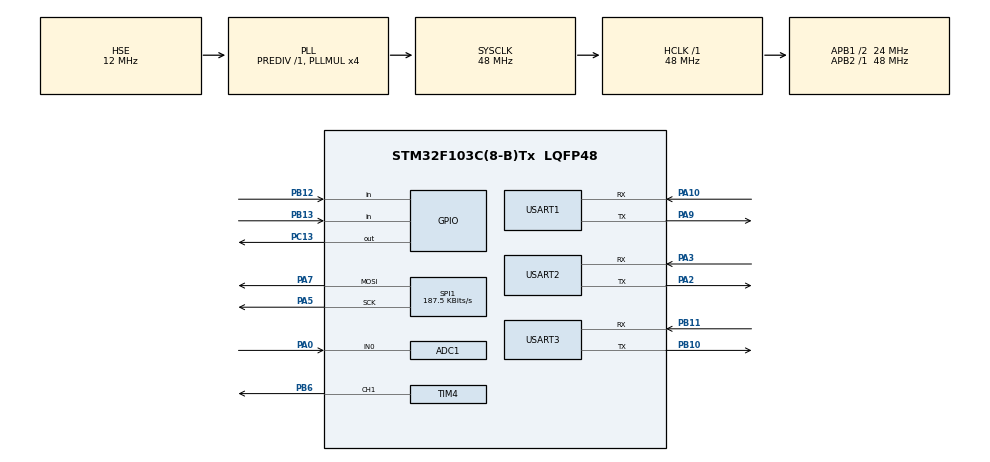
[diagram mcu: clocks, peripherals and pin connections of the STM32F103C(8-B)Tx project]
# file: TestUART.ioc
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ADC1.Channel-4\#ChannelRegularConversion=ADC_CHANNEL_0
ADC1.ContinuousConvMode=ENABLE
ADC1.NbrOfConversionFlag=1
ADC1.Rank-4\#ChannelRegularConversion=1
ADC1.SamplingTime-4\#ChannelRegularConversion=ADC_SAMPLETIME_71CYCLES_5
ADC1.master=1
Mcu.Family=STM32F1
Mcu.Name=STM32F103C(8-B)Tx
Mcu.Package=LQFP48
NVIC.ADC1_2_IRQn=true\:0\:0\:false\:false\:true\:true
NVIC.PriorityGroup=NVIC_PRIORITYGROUP_4
PA0-WKUP.Signal=ADCx_IN0
PA10.Mode=Asynchronous
PA10.Signal=USART1_RX
PA13.Mode=Serial_Wire
PA13.Signal=SYS_JTMS-SWDIO
PA14.Mode=Serial_Wire
PA14.Signal=SYS_JTCK-SWCLK
PA2.Mode=Asynchronous
PA2.Signal=USART2_TX
PA3.Mode=Asynchronous
PA3.Signal=USART2_RX
PA5.Mode=TX_Only_Simplex_Unidirect_Master
PA5.Signal=SPI1_SCK
PA7.Mode=TX_Only_Simplex_Unidirect_Master
PA7.Signal=SPI1_MOSI
PA9.Mode=Asynchronous
PA9.Signal=USART1_TX
PB10.Mode=Asynchronous
PB10.Signal=USART3_TX
PB11.Mode=Asynchronous
PB11.Signal=USART3_RX
PB12.GPIO_PuPd=GPIO_PULLUP
PB12.Signal=GPIO_Input
PB13.GPIO_PuPd=GPIO_PULLUP
PB13.Signal=GPIO_Input
PB6.Signal=S_TIM4_CH1
PC13-TAMPER-RTC.Signal=GPIO_Output
PD0-OSC_IN.Mode=HSE-External-Oscillator
PD0-OSC_IN.Signal=RCC_OSC_IN
PD1-OSC_OUT.Mode=HSE-External-Oscillator
PD1-OSC_OUT.Signal=RCC_OSC_OUT
ProjectManager.HeapSize=0x200
ProjectManager.StackSize=0x400
ProjectManager.TargetToolchain=Makefile
RCC.ADCPresc=RCC_ADCPCLK2_DIV6
RCC.AHBFreq_Value=48000000
RCC.APB1CLKDivider=RCC_HCLK_DIV2
RCC.APB1Freq_Value=24000000
RCC.APB1TimFreq_Value=48000000
RCC.APB2Freq_Value=48000000
RCC.APB2TimFreq_Value=48000000
RCC.HCLKFreq_Value=48000000
RCC.HSE_VALUE=12000000
RCC.PLLMUL=RCC_PLL_MUL4
RCC.PLLSourceVirtual=RCC_PLLSOURCE_HSE
RCC.SYSCLKFreq_VALUE=48000000
RCC.SYSCLKSource=RCC_SYSCLKSOURCE_PLLCLK
RCC.USBFreq_Value=48000000
SH.ADCx_IN0.0=ADC1_IN0,IN0
SH.S_TIM4_CH1.0=TIM4_CH1,PWM Generation1 CH1
SPI1.BaudRatePrescaler=SPI_BAUDRATEPRESCALER_256
SPI1.CalculateBaudRate=187.5 KBits/s
SPI1.Direction=SPI_DIRECTION_2LINES
SPI1.Mode=SPI_MODE_MASTER
SPI1.VirtualType=VM_MASTER
TIM4.Channel-PWM\ Generation1\ CH1=TIM_CHANNEL_1
TIM4.Period=2000
TIM4.Prescaler=4800-1
TIM4.Pulse-PWM\ Generation1\ CH1=1000
USART1.VirtualMode=VM_ASYNC
USART2.VirtualMode=VM_ASYNC
USART3.VirtualMode=VM_ASYNC
board=TestUART

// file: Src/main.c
/**
  ******************************************************************************
  * @file           : main.c
  * @brief          : Main program body
  ******************************************************************************
  ** This notice applies to any and all portions of this file
  * that are not between comment pairs USER CODE BEGIN and
  * USER CODE END. Other portions of this file, whether
  * inserted by the user or by software development tools
  * are owned by their respective copyright owners.
  *
  * COPYRIGHT(c) 2018 STMicroelectronics
  *
  * Redistribution and use in source and binary forms, with or without modification,
  * are permitted provided that the following conditions are met:
  *   1. Redistributions of source code must retain the above copyright notice,
  *      this list of conditions and the following disclaimer.
  *   2. Redistributions in binary form must reproduce the above copyright notice,
  *      this list of conditions and the following disclaimer in the documentation
  *      and/or other materials provided with the distribution.
  *   3. Neither the name of STMicroelectronics nor the names of its contributors
  *      may be used to endorse or promote products derived from this software
  *      without specific prior written permission.
  *
  * THIS SOFTWARE IS PROVIDED BY THE COPYRIGHT HOLDERS AND CONTRIBUTORS "AS IS"
  * AND ANY EXPRESS OR IMPLIED WARRANTIES, INCLUDING, BUT NOT LIMITED TO, THE
  * IMPLIED WARRANTIES OF MERCHANTABILITY AND FITNESS FOR A PARTICULAR PURPOSE ARE
  * DISCLAIMED. IN NO EVENT SHALL THE COPYRIGHT HOLDER OR CONTRIBUTORS BE LIABLE
  * FOR ANY DIRECT, INDIRECT, INCIDENTAL, SPECIAL, EXEMPLARY, OR CONSEQUENTIAL
  * DAMAGES (INCLUDING, BUT NOT LIMITED TO, PROCUREMENT OF SUBSTITUTE GOODS OR
  * SERVICES; LOSS OF USE, DATA, OR PROFITS; OR BUSINESS INTERRUPTION) HOWEVER
  * CAUSED AND ON ANY THEORY OF LIABILITY, WHETHER IN CONTRACT, STRICT LIABILITY,
  * OR TORT (INCLUDING NEGLIGENCE OR OTHERWISE) ARISING IN ANY WAY OUT OF THE USE
  * OF THIS SOFTWARE, EVEN IF ADVISED OF THE POSSIBILITY OF SUCH DAMAGE.
  *
  ******************************************************************************
  */
#include "main.h"
#include "stm32f1xx_hal.h"
#include "adc.h"
#include "spi.h"
#include "tim.h"
#include "usart.h"
#include "gpio.h"

/* USER CODE BEGIN PV */
/* Private variables ---------------------------------------------------------*/

volatile uint32_t ticks=0;
uint32_t last_ticks = 0;

/* USER CODE END PV */

void SystemClock_Config(void);

/* USER CODE BEGIN PFP */
/* Private function prototypes -----------------------------------------------*/
/*****************************************
 * SERIAL OUTPUT BEGIN
 *****************************************/

int _write(int file, char *data, int len)
{

   // arbitrary timeout 1000
   HAL_StatusTypeDef status =
      HAL_UART_Transmit(&huart3, (uint8_t*)data, len, 1000);

   // return # of bytes written - as best we can tell
   return (status == HAL_OK ? len : 0);
}
/*****************************************
 * SERIAL OUTPUT END
 *****************************************/

/* USER CODE END PFP */

/* USER CODE BEGIN 0 */
void HAL_SYSTICK_Callback(void)
{
	ticks++;
}

uint32_t math_calc_diff(uint32_t value1, uint32_t value2) {
	if (value1 == value2) {
		return 0;
	}
	if (value1 > value2) {
		return (value1 - value2);
	}
	else {
		// check for overflow
		return (0xffffffff - value2 + value1);
	}
}

/* USER CODE END 0 */

int main(void)
{

  /* MCU Configuration----------------------------------------------------------*/

  /* Reset of all peripherals, Initializes the Flash interface and the Systick. */
  HAL_Init();

  /* Configure the system clock */
  SystemClock_Config();

  /* Initialize all configured peripherals */
  MX_GPIO_Init();
  MX_USART1_UART_Init();
  MX_USART2_UART_Init();
  MX_USART3_UART_Init();
  MX_ADC1_Init();
  MX_SPI1_Init();
  MX_TIM4_Init();
  /* USER CODE BEGIN 2 */

  HAL_TIM_PWM_Start(&htim4, TIM_CHANNEL_1);
  /* USER CODE END 2 */

  /* Infinite loop */
  /* USER CODE BEGIN WHILE */
  while (1)
  {
	  // each x ms
	  if (math_calc_diff(ticks, last_ticks) > 200) {
		  last_ticks = ticks;
		  // blink LED
		  HAL_GPIO_TogglePin(GPIOC, GPIO_PIN_13);
	  }

  /* USER CODE END WHILE */

  }

}

void SystemClock_Config(void)
{

  RCC_OscInitTypeDef RCC_OscInitStruct;
  RCC_ClkInitTypeDef RCC_ClkInitStruct;
  RCC_PeriphCLKInitTypeDef PeriphClkInit;

    /**Initializes the CPU, AHB and APB busses clocks
    */
  RCC_OscInitStruct.OscillatorType = RCC_OSCILLATORTYPE_HSE;
  RCC_OscInitStruct.HSEState = RCC_HSE_ON;
  RCC_OscInitStruct.HSEPredivValue = RCC_HSE_PREDIV_DIV1;
  RCC_OscInitStruct.HSIState = RCC_HSI_ON;
  RCC_OscInitStruct.PLL.PLLState = RCC_PLL_ON;
  RCC_OscInitStruct.PLL.PLLSource = RCC_PLLSOURCE_HSE;
  RCC_OscInitStruct.PLL.PLLMUL = RCC_PLL_MUL4;
  if (HAL_RCC_OscConfig(&RCC_OscInitStruct) != HAL_OK)
  {
    _Error_Handler(__FILE__, __LINE__);
  }

    /**Initializes the CPU, AHB and APB busses clocks
    */
  RCC_ClkInitStruct.ClockType = RCC_CLOCKTYPE_HCLK|RCC_CLOCKTYPE_SYSCLK
                              |RCC_CLOCKTYPE_PCLK1|RCC_CLOCKTYPE_PCLK2;
  RCC_ClkInitStruct.SYSCLKSource = RCC_SYSCLKSOURCE_PLLCLK;
  RCC_ClkInitStruct.AHBCLKDivider = RCC_SYSCLK_DIV1;
  RCC_ClkInitStruct.APB1CLKDivider = RCC_HCLK_DIV2;
  RCC_ClkInitStruct.APB2CLKDivider = RCC_HCLK_DIV1;

  if (HAL_RCC_ClockConfig(&RCC_ClkInitStruct, FLASH_LATENCY_1) != HAL_OK)
  {
    _Error_Handler(__FILE__, __LINE__);
  }

  PeriphClkInit.PeriphClockSelection = RCC_PERIPHCLK_ADC;
  PeriphClkInit.AdcClockSelection = RCC_ADCPCLK2_DIV6;
  if (HAL_RCCEx_PeriphCLKConfig(&PeriphClkInit) != HAL_OK)
  {
    _Error_Handler(__FILE__, __LINE__);
  }

    /**Configure the Systick interrupt time
    */
  HAL_SYSTICK_Config(HAL_RCC_GetHCLKFreq()/1000);

    /**Configure the Systick
    */
  HAL_SYSTICK_CLKSourceConfig(SYSTICK_CLKSOURCE_HCLK);

  /* SysTick_IRQn interrupt configuration */
  HAL_NVIC_SetPriority(SysTick_IRQn, 0, 0);
}

void _Error_Handler(char *file, int line)
{
  while(1)
  {
  }
}

/************************ (C) COPYRIGHT STMicroelectronics *****END OF FILE****/
